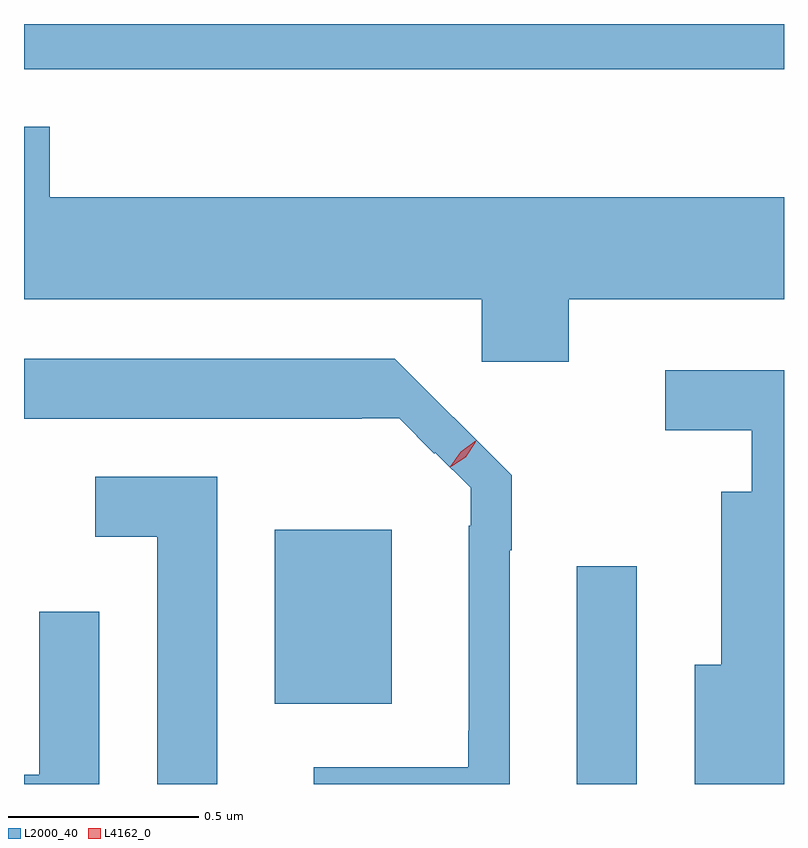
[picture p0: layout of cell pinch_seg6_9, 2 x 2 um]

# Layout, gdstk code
import gdstk
lib = gdstk.Library(unit=1e-6, precision=1e-09)
def R(c, l, rs):  # rectangles x0, y0, x1, y1
    for r in rs: c.add(gdstk.rectangle(r[:2], r[2:], *l))
def P(c, l, *ps):  # polygons
    for p in ps: c.add(gdstk.Polygon(p, *l))
L2000_40 = (2000, 40)
L4162_0 = (4162, 0)

pinch_seg6_9 = lib.new_cell('pinch_seg6_9')
R(pinch_seg6_9, L2000_40, [(826.496,1661.98,826.654,1662.553), (825.701,1662.191,826.009,1662.649), (825.041,1663.861,827.041,1663.98)])
P(pinch_seg6_9, L2000_40, [(826.474,1663.256),(827.041,1663.256),(827.041,1663.524),(825.109,1663.524),(825.109,1663.709),(825.041,1663.709),(825.041,1663.256),(826.246,1663.256),(826.246,1663.091),(826.474,1663.091)],
  [(826.319,1662.595),(826.324,1662.595),(826.324,1662.792),(826.017,1663.099),(825.041,1663.099),(825.041,1662.941),(825.93,1662.941),(825.93,1662.942),(826.028,1662.942),(826.12,1662.849),(826.123,1662.852),(826.216,1662.759),(826.216,1662.659),(826.212,1662.659),(826.212,1662.12),(826.21,1662.12),(826.21,1662.024),(825.803,1662.024),(825.803,1661.98),(826.319,1661.98)],
  [(827.041,1663.069),(826.728,1663.069),(826.728,1662.911),(826.956,1662.911),(826.956,1662.749),(826.876,1662.749),(826.876,1662.294),(826.806,1662.294),(826.806,1661.98),(827.041,1661.98)],
  [(825.549,1662.789),(825.228,1662.789),(825.228,1662.631),(825.391,1662.631),(825.391,1661.98),(825.549,1661.98)],
  [(825.239,1662.433),(825.081,1662.433),(825.081,1662.004),(825.041,1662.004),(825.041,1661.98),(825.239,1661.98)])
P(pinch_seg6_9, L4162_0, [(826.166,1662.816),(826.166,1662.817),(826.19,1662.855),(826.228,1662.879),(826.229,1662.879),(826.229,1662.878),(826.204,1662.84),(826.167,1662.816)],
  [(826.162,1662.813),(826.162,1662.813),(826.19,1662.855),(826.231,1662.884),(826.231,1662.884),(826.231,1662.883),(826.204,1662.841),(826.162,1662.813)])

lib.write_gds('pinch_seg6_9.gds')
